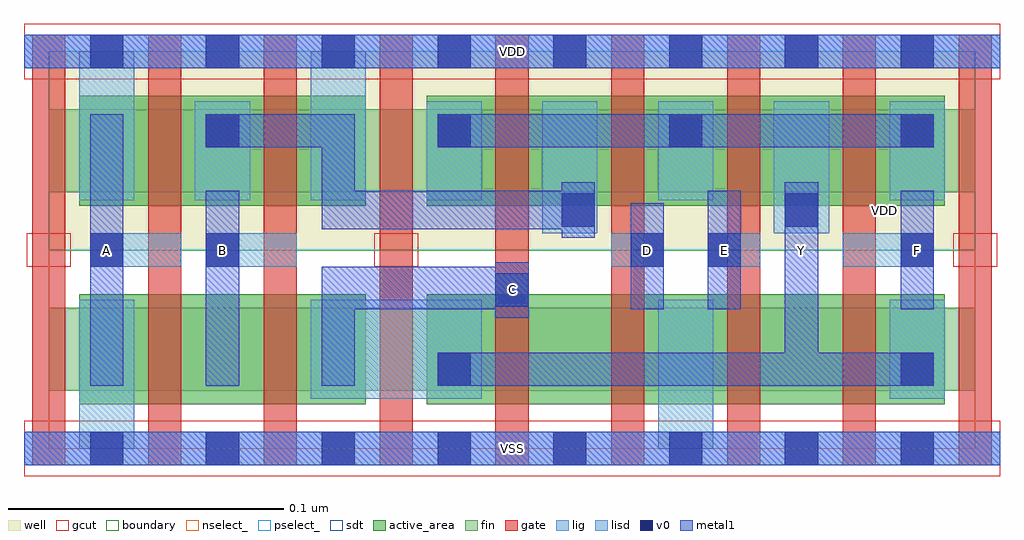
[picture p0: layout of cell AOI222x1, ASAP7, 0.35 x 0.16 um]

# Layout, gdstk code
import gdstk
lib = gdstk.Library(unit=1e-6, precision=2.5e-10)
def R(c, l, rs):  # rectangles x0, y0, x1, y1
    for r in rs: c.add(gdstk.rectangle(r[:2], r[2:], *l))
def A(c, l, x, y, w, h, nx, ny, dx, dy):  # array of equal rectangles
    R(c, l, [(x+i*dx, y+j*dy, x+i*dx+w, y+j*dy+h) for i in range(nx) for j in range(ny)])
def P(c, l, *ps):  # polygons
    for p in ps: c.add(gdstk.Polygon(p, *l))
well = (1, 0)
fin = (2, 0)
gate = (7, 0)
gcut = (10, 0)
active_area = (11, 0)
nselect_ = (12, 0)
pselect_ = (13, 0)
lig = (16, 0)
lisd = (17, 0)
v0 = (18, 0)
metal1 = (19, 0)
sdt = (88, 0)
boundary = (100, 0)

aoi222x1 = lib.new_cell('AOI222x1')
R(aoi222x1, well, [(0,0.072,0.336,0.144)])
R(aoi222x1, fin, [(0,0.021,0.336,0.051), (0,0.093,0.336,0.123)])
A(aoi222x1, gate, -0.006, -0.006, 0.012, 0.156, 9, 1, 0.042, 0)
R(aoi222x1, gcut, [(-0.009,-0.01,0.345,0.01), (-0.008,0.066,0.008,0.078), (0.118,0.066,0.134,0.078), (0.328,0.066,0.344,0.078), (-0.009,0.134,0.345,0.154)])
R(aoi222x1, active_area, [(0.011,0.016,0.115,0.056), (0.137,0.016,0.325,0.056), (0.011,0.088,0.115,0.128), (0.137,0.088,0.325,0.128)])
R(aoi222x1, nselect_, [(0,0,0.336,0.072)])
R(aoi222x1, pselect_, [(0,0.072,0.336,0.144)])
R(aoi222x1, lig, [(-0.009,-0.006,0.345,0.006), (0.162,0.0515,0.174,0.0635), (0.015,0.066,0.048,0.078), (0.057,0.066,0.09,0.078), (0.204,0.066,0.223,0.078), (0.239,0.066,0.258,0.078), (0.288,0.066,0.321,0.078), (-0.009,0.138,0.345,0.15)])
A(aoi222x1, lisd, 0.053, 0.09, 0.02, 0.036, 4, 1, 0.084, 0)
R(aoi222x1, lisd, [(0.011,0,0.031,0.054), (0.221,0,0.241,0.054), (0.095,0.018,0.157,0.054), (0.305,0.018,0.325,0.054), (0.179,0.078,0.199,0.126), (0.263,0.078,0.283,0.126), (0.011,0.09,0.031,0.144), (0.095,0.09,0.115,0.144)])
A(aoi222x1, v0, 0.015, -0.006, 0.012, 0.012, 8, 2, 0.042, 0.144)
A(aoi222x1, v0, 0.057, 0.1092, 0.012, 0.012, 4, 1, 0.084, 0)
R(aoi222x1, v0, [(0.141,0.0227,0.153,0.0348), (0.309,0.0227,0.321,0.0348), (0.162,0.0515,0.174,0.0635), (0.015,0.066,0.027,0.078), (0.057,0.066,0.069,0.078), (0.211,0.066,0.223,0.078), (0.239,0.066,0.251,0.078), (0.309,0.066,0.321,0.078), (0.186,0.0805,0.198,0.0925), (0.267,0.0805,0.279,0.0925)])
R(aoi222x1, metal1, [(-0.009,-0.006,0.345,0.006), (0.015,0.0227,0.027,0.1212), (0.057,0.0227,0.069,0.0935), (0.211,0.0505,0.223,0.089), (0.239,0.0505,0.251,0.0935), (0.309,0.0505,0.321,0.0935), (0.141,0.1092,0.321,0.1212), (-0.009,0.138,0.345,0.15)])
P(aoi222x1, metal1, [(0.321,0.0348),(0.279,0.0348),(0.279,0.0965),(0.267,0.0965),(0.267,0.0348),(0.141,0.0348),(0.141,0.0227),(0.321,0.0227)],
  [(0.111,0.1212),(0.057,0.1212),(0.057,0.1092),(0.099,0.1092),(0.099,0.0795),(0.186,0.0795),(0.186,0.0765),(0.198,0.0765),(0.198,0.0965),(0.186,0.0965),(0.186,0.0935),(0.111,0.0935)],
  [(0.111,0.0505),(0.162,0.0505),(0.162,0.0475),(0.174,0.0475),(0.174,0.0675),(0.162,0.0675),(0.162,0.066),(0.099,0.066),(0.099,0.0227),(0.111,0.0227)])
A(aoi222x1, sdt, 0.137, 0.021, 0.02, 0.03, 3, 1, 0.084, 0)
A(aoi222x1, sdt, 0.011, 0.093, 0.02, 0.03, 8, 1, 0.042, 0)
R(aoi222x1, sdt, [(0.011,0.021,0.031,0.051), (0.095,0.021,0.115,0.051)])
R(aoi222x1, boundary, [(0,0,0.336,0.144)])
aoi222x1.add(gdstk.Label('VDD', (0.303,0.0865), layer=1, texttype=251))
aoi222x1.add(gdstk.Label('VSS', (0.375,0.0505), layer=3, texttype=251))
aoi222x1.add(gdstk.Label('F', (0.315,0.072), layer=19, texttype=251))
aoi222x1.add(gdstk.Label('D', (0.217,0.072), layer=19, texttype=251))
aoi222x1.add(gdstk.Label('C', (0.168,0.0575), layer=19, texttype=251))
aoi222x1.add(gdstk.Label('E', (0.245,0.072), layer=19, texttype=251))
aoi222x1.add(gdstk.Label('Y', (0.273,0.072), layer=19, texttype=251))
aoi222x1.add(gdstk.Label('A', (0.021,0.072), layer=19, texttype=251))
aoi222x1.add(gdstk.Label('VSS', (0.168,0), layer=19, texttype=251))
aoi222x1.add(gdstk.Label('VDD', (0.168,0.144), layer=19, texttype=251))
aoi222x1.add(gdstk.Label('B', (0.063,0.072), layer=19, texttype=251))

lib.write_gds('AOI222x1.gds')
